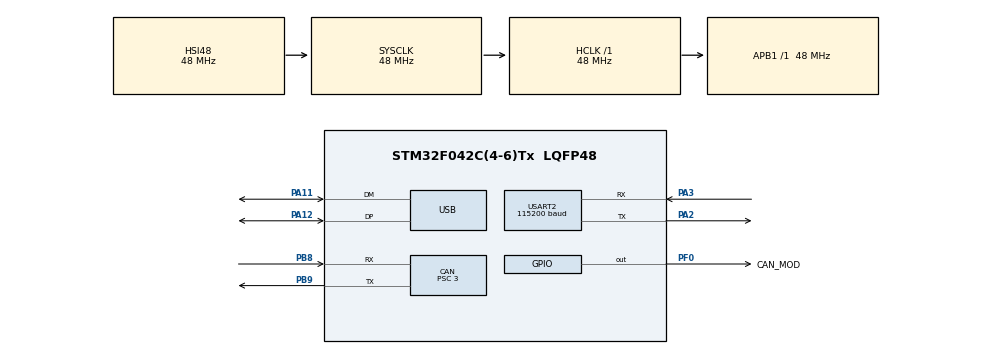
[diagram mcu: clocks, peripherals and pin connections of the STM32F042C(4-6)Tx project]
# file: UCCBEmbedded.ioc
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CAN.ABOM=ENABLE
CAN.BS1=CAN_BS1_11TQ
CAN.BS2=CAN_BS2_4TQ
CAN.CalculateTimeBit=1000
CAN.CalculateTimeQuantum=62.5
CAN.Prescaler=3
CAN.SJW=CAN_SJW_2TQ
IWDG.Prescaler=IWDG_PRESCALER_64
Mcu.Family=STM32F0
Mcu.Name=STM32F042C(4-6)Tx
Mcu.Package=LQFP48
NVIC.USB_IRQn=true\:0\:0\:true\:false\:true\:true
PA11.Mode=Device
PA11.Signal=USB_DM
PA12.Mode=Device
PA12.Signal=USB_DP
PA2.Mode=Asynchronous
PA2.Signal=USART2_TX
PA3.Mode=Asynchronous
PA3.Signal=USART2_RX
PB8.Mode=Master
PB8.Signal=CAN_RX
PB9.Mode=Master
PB9.Signal=CAN_TX
PF0-OSC_IN.GPIO_Label=CAN_MOD
PF0-OSC_IN.Signal=GPIO_Output
ProjectManager.HeapSize=0x200
ProjectManager.StackSize=0x400
ProjectManager.TargetToolchain=TrueSTUDIO
RCC.AHBFreq_Value=48000000
RCC.APB1Freq_Value=48000000
RCC.APB1TimFreq_Value=48000000
RCC.HCLKFreq_Value=48000000
RCC.SYSCLKFreq_VALUE=48000000
RCC.SYSCLKSource=RCC_SYSCLKSOURCE_HSI48
USART2.BaudRate=115200
USART2.VirtualMode-Asynchronous=VM_ASYNC
USART2.WordLength=WORDLENGTH_8B
USB_DEVICE.CLASS_NAME_FS=CDC
USB_DEVICE.MANUFACTURER_STRING=CANDevices
USB_DEVICE.PRODUCT_STRING_CDC_FS=CAN_USB_ConverterBasic
USB_DEVICE.USBD_HandleTypeDef=hUsbDeviceFS
USB_DEVICE.VirtualMode=Cdc
USB_DEVICE.VirtualModeFS=Cdc_FS
VP_IWDG_VS_IWDG.Mode=IWDG_Activate
VP_USB_DEVICE_VS_USB_DEVICE_CDC_FS.Mode=CDC_FS
board=UCCBEmbedded

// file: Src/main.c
/**
  ******************************************************************************
  * @file           : main.c
  * @brief          : Main program body
  ******************************************************************************
  * This notice applies to any and all portions of this file
  * that are not between comment pairs USER CODE BEGIN and
  * USER CODE END. Other portions of this file, whether
  * inserted by the user or by software development tools
  * are owned by their respective copyright owners.
  *
  * Copyright (c) 2018 STMicroelectronics International N.V.
  * All rights reserved.
  *
  * Redistribution and use in source and binary forms, with or without
  * modification, are permitted, provided that the following conditions are met:
  *
  * 1. Redistribution of source code must retain the above copyright notice,
  *    this list of conditions and the following disclaimer.
  * 2. Redistributions in binary form must reproduce the above copyright notice,
  *    this list of conditions and the following disclaimer in the documentation
  *    and/or other materials provided with the distribution.
  * 3. Neither the name of STMicroelectronics nor the names of other
  *    contributors to this software may be used to endorse or promote products
  *    derived from this software without specific written permission.
  * 4. This software, including modifications and/or derivative works of this
  *    software, must execute solely and exclusively on microcontroller or
  *    microprocessor devices manufactured by or for STMicroelectronics.
  * 5. Redistribution and use of this software other than as permitted under
  *    this license is void and will automatically terminate your rights under
  *    this license.
  *
  * THIS SOFTWARE IS PROVIDED BY STMICROELECTRONICS AND CONTRIBUTORS "AS IS"
  * AND ANY EXPRESS, IMPLIED OR STATUTORY WARRANTIES, INCLUDING, BUT NOT
  * LIMITED TO, THE IMPLIED WARRANTIES OF MERCHANTABILITY, FITNESS FOR A
  * PARTICULAR PURPOSE AND NON-INFRINGEMENT OF THIRD PARTY INTELLECTUAL PROPERTY
  * RIGHTS ARE DISCLAIMED TO THE FULLEST EXTENT PERMITTED BY LAW. IN NO EVENT
  * SHALL STMICROELECTRONICS OR CONTRIBUTORS BE LIABLE FOR ANY DIRECT, INDIRECT,
  * INCIDENTAL, SPECIAL, EXEMPLARY, OR CONSEQUENTIAL DAMAGES (INCLUDING, BUT NOT
  * LIMITED TO, PROCUREMENT OF SUBSTITUTE GOODS OR SERVICES; LOSS OF USE, DATA,
  * OR PROFITS; OR BUSINESS INTERRUPTION) HOWEVER CAUSED AND ON ANY THEORY OF
  * LIABILITY, WHETHER IN CONTRACT, STRICT LIABILITY, OR TORT (INCLUDING
  * NEGLIGENCE OR OTHERWISE) ARISING IN ANY WAY OUT OF THE USE OF THIS SOFTWARE,
  * EVEN IF ADVISED OF THE POSSIBILITY OF SUCH DAMAGE.
  *
  ******************************************************************************
  */
#include "main.h"
#include "stm32f0xx_hal.h"
#include "usb_device.h"

/* USER CODE BEGIN Includes */
#include "usbd_cdc_if.h"
#include "slcan/slcan.h"
#include "slcan/slcan_additional.h"
/* USER CODE END Includes */

CAN_HandleTypeDef hcan;

IWDG_HandleTypeDef hiwdg;

UART_HandleTypeDef huart2;

/* USER CODE BEGIN PV */
/* Private variables ---------------------------------------------------------*/

/* USER CODE END PV */

void SystemClock_Config(void);
static void MX_GPIO_Init(void);
static void MX_CAN_Init(void);
static void MX_USART2_UART_Init(void);
static void MX_IWDG_Init(void);

/* USER CODE BEGIN PFP */
/* Private function prototypes -----------------------------------------------*/

/* USER CODE END PFP */

/* USER CODE BEGIN 0 */

CanTxMsgTypeDef CanTxBuffer;
CanRxMsgTypeDef CanRxBuffer;

#define UART_RX_FIFO_SIZE    1
uint8_t Uart2RxFifo;

typedef struct tcanRxFlags {
	union {
		struct {
			uint8_t fifo1 :1;
			uint8_t fifo2 :1;
		};
		uint8_t byte;
	} flags;
	uint8_t activefifo;
} tcanRx;

volatile tcanRx canRxFlags;
void bootloaderSwitcher();
#define TYPE_ID 0x16
volatile int32_t serialNumber;
const uint32_t *uid = (uint32_t *)(UID_BASE + 4);
/* USER CODE END 0 */

int main(void)
{
  /* USER CODE BEGIN 1 */
	serialNumber = TYPE_ID | (((*uid) << 8) & 0xFFFFFF00);
	bootloaderSwitcher();
  /* USER CODE END 1 */

  /* MCU Configuration----------------------------------------------------------*/

  /* Reset of all peripherals, Initializes the Flash interface and the Systick. */
  HAL_Init();

  /* Configure the system clock */
  SystemClock_Config();

  /* Initialize all configured peripherals */
  MX_GPIO_Init();
  MX_CAN_Init();
  MX_USART2_UART_Init();
  MX_USB_DEVICE_Init();
  MX_IWDG_Init();
  /* USER CODE BEGIN 2 */

	hcan.pTxMsg = &CanTxBuffer;
	hcan.pRxMsg = &CanRxBuffer;

	canRxFlags.flags.byte = 0;
	// CAN RX init
	{
		slcanClearAllFilters();

		HAL_NVIC_SetPriority(CEC_CAN_IRQn, 2, 2);
		HAL_CAN_Receive_IT(&hcan, CAN_FIFO0);
	}
	// UART RX
	{
		HAL_UART_Receive_IT(&huart2, &Uart2RxFifo, UART_RX_FIFO_SIZE);
		HAL_NVIC_SetPriority(USART2_IRQn, 3, 3);
		NVIC_EnableIRQ(USART2_IRQn);
	}
	/* Enable USART1 global interrupt */

  /* USER CODE END 2 */

  /* Infinite loop */
  /* USER CODE BEGIN WHILE */
	while (1) {
		slCanCheckCommand(command);
		slcanOutputFlush();
		if (canRxFlags.flags.byte != 0) {
			slcanReciveCanFrame(hcan.pRxMsg);
			canRxFlags.flags.fifo1 = 0;
			HAL_CAN_Receive_IT(&hcan, CAN_FIFO0);
			USBD_CDC_ReceivePacket(&hUsbDeviceFS);
		}
  /* USER CODE END WHILE */

  /* USER CODE BEGIN 3 */
		HAL_IWDG_Refresh(&hiwdg);
  }
  /* USER CODE END 3 */

}

void HAL_CAN_ErrorCallback(CAN_HandleTypeDef *hcan)
{
	HAL_CAN_Receive_IT(hcan, CAN_FIFO0);
}

void SystemClock_Config(void)
{

  RCC_OscInitTypeDef RCC_OscInitStruct;
  RCC_ClkInitTypeDef RCC_ClkInitStruct;
  RCC_PeriphCLKInitTypeDef PeriphClkInit;

    /**Initializes the CPU, AHB and APB busses clocks
    */
  RCC_OscInitStruct.OscillatorType = RCC_OSCILLATORTYPE_HSI48|RCC_OSCILLATORTYPE_LSI;
  RCC_OscInitStruct.HSI48State = RCC_HSI48_ON;
  RCC_OscInitStruct.LSIState = RCC_LSI_ON;
  RCC_OscInitStruct.PLL.PLLState = RCC_PLL_NONE;
  if (HAL_RCC_OscConfig(&RCC_OscInitStruct) != HAL_OK)
  {
    _Error_Handler(__FILE__, __LINE__);
  }

    /**Initializes the CPU, AHB and APB busses clocks
    */
  RCC_ClkInitStruct.ClockType = RCC_CLOCKTYPE_HCLK|RCC_CLOCKTYPE_SYSCLK
                              |RCC_CLOCKTYPE_PCLK1;
  RCC_ClkInitStruct.SYSCLKSource = RCC_SYSCLKSOURCE_HSI48;
  RCC_ClkInitStruct.AHBCLKDivider = RCC_SYSCLK_DIV1;
  RCC_ClkInitStruct.APB1CLKDivider = RCC_HCLK_DIV1;

  if (HAL_RCC_ClockConfig(&RCC_ClkInitStruct, FLASH_LATENCY_1) != HAL_OK)
  {
    _Error_Handler(__FILE__, __LINE__);
  }

  PeriphClkInit.PeriphClockSelection = RCC_PERIPHCLK_USB;
  PeriphClkInit.UsbClockSelection = RCC_USBCLKSOURCE_HSI48;

  if (HAL_RCCEx_PeriphCLKConfig(&PeriphClkInit) != HAL_OK)
  {
    _Error_Handler(__FILE__, __LINE__);
  }

    /**Configure the Systick interrupt time
    */
  HAL_SYSTICK_Config(HAL_RCC_GetHCLKFreq()/1000);

    /**Configure the Systick
    */
  HAL_SYSTICK_CLKSourceConfig(SYSTICK_CLKSOURCE_HCLK);

  /* SysTick_IRQn interrupt configuration */
  HAL_NVIC_SetPriority(SysTick_IRQn, 0, 0);
}

/* CAN init function */
static void MX_CAN_Init(void)
{

  hcan.Instance = CAN;
  hcan.Init.Prescaler = 3;
  hcan.Init.Mode = CAN_MODE_NORMAL;
  hcan.Init.SJW = CAN_SJW_2TQ;
  hcan.Init.BS1 = CAN_BS1_11TQ;
  hcan.Init.BS2 = CAN_BS2_4TQ;
  hcan.Init.TTCM = DISABLE;
  hcan.Init.ABOM = ENABLE;
  hcan.Init.AWUM = DISABLE;
  hcan.Init.NART = DISABLE;
  hcan.Init.RFLM = DISABLE;
  hcan.Init.TXFP = DISABLE;
  if (HAL_CAN_Init(&hcan) != HAL_OK)
  {
    _Error_Handler(__FILE__, __LINE__);
  }

}

/* IWDG init function */
static void MX_IWDG_Init(void)
{

  hiwdg.Instance = IWDG;
  hiwdg.Init.Prescaler = IWDG_PRESCALER_64;
  hiwdg.Init.Window = 4095;
  hiwdg.Init.Reload = 4095;
  if (HAL_IWDG_Init(&hiwdg) != HAL_OK)
  {
    _Error_Handler(__FILE__, __LINE__);
  }

}

/* USART2 init function */
static void MX_USART2_UART_Init(void)
{

  huart2.Instance = USART2;
  huart2.Init.BaudRate = 115200;
  huart2.Init.WordLength = UART_WORDLENGTH_8B;
  huart2.Init.StopBits = UART_STOPBITS_1;
  huart2.Init.Parity = UART_PARITY_NONE;
  huart2.Init.Mode = UART_MODE_TX_RX;
  huart2.Init.HwFlowCtl = UART_HWCONTROL_NONE;
  huart2.Init.OverSampling = UART_OVERSAMPLING_16;
  huart2.Init.OneBitSampling = UART_ONE_BIT_SAMPLE_DISABLE;
  huart2.AdvancedInit.AdvFeatureInit = UART_ADVFEATURE_NO_INIT;
  if (HAL_UART_Init(&huart2) != HAL_OK)
  {
    _Error_Handler(__FILE__, __LINE__);
  }

}

/** Configure pins as
        * Analog
        * Input
        * Output
        * EVENT_OUT
        * EXTI
*/
static void MX_GPIO_Init(void)
{

  GPIO_InitTypeDef GPIO_InitStruct;

  /* GPIO Ports Clock Enable */
  __HAL_RCC_GPIOF_CLK_ENABLE();
  __HAL_RCC_GPIOA_CLK_ENABLE();
  __HAL_RCC_GPIOB_CLK_ENABLE();

  /*Configure GPIO pin Output Level */
  HAL_GPIO_WritePin(CAN_MOD_GPIO_Port, CAN_MOD_Pin, GPIO_PIN_RESET);

  /*Configure GPIO pin : CAN_MOD_Pin */
  GPIO_InitStruct.Pin = CAN_MOD_Pin;
  GPIO_InitStruct.Mode = GPIO_MODE_OUTPUT_PP;
  GPIO_InitStruct.Pull = GPIO_NOPULL;
  GPIO_InitStruct.Speed = GPIO_SPEED_FREQ_LOW;
  HAL_GPIO_Init(CAN_MOD_GPIO_Port, &GPIO_InitStruct);

}

/* USER CODE BEGIN 4 */

void HAL_CAN_RxCpltCallback(CAN_HandleTypeDef* hcan) {
	canRxFlags.flags.fifo1 = 1;
//    HAL_CAN_Receive_IT(hcan,CAN_FIFO0);
}

void HAL_UART_RxCpltCallback(UART_HandleTypeDef * huart) {
	slCanProccesInput(Uart2RxFifo);
	__HAL_UART_FLUSH_DRREGISTER(huart);
	HAL_UART_Receive_IT(huart, &Uart2RxFifo, UART_RX_FIFO_SIZE);
}

/* USER CODE END 4 */

void _Error_Handler(char *file, int line)
{
  while(1)
  {
  }
}

/************************ (C) COPYRIGHT STMicroelectronics *****END OF FILE****/
